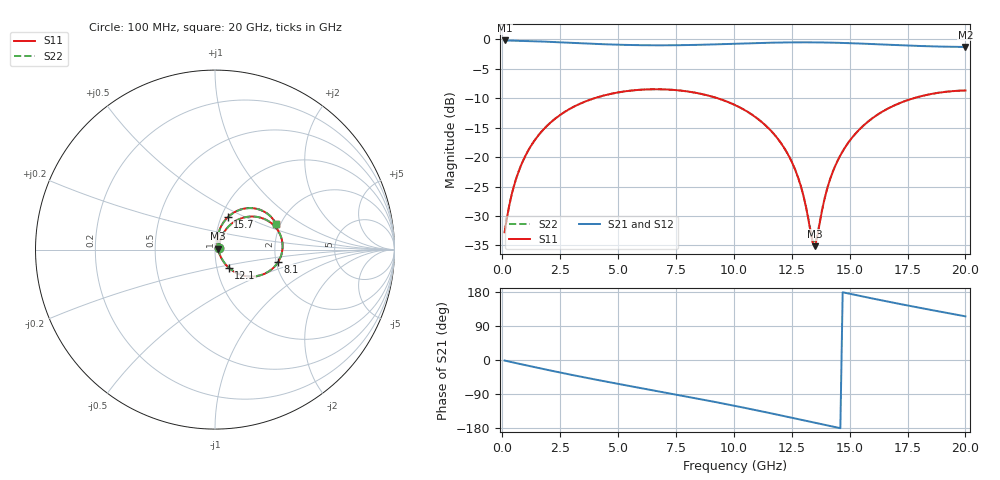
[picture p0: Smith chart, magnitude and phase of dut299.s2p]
! Touchstone file exported from HFSS 2026.1.0
!  File:  C:/ffzhzh/LocalFiles/Ansys_Project_Files/temp_train_TSV_RDL_299_1783088884_37648.aedt
!  Generated:  10:34:54 PM Jul  3, 2026
!  Design:  TSV_RDL
!  Project:  temp_train_TSV_RDL_299_1783088884_37648
! Variables:
!  h_bsmrdl = 5.78um
!  h_ox = 20um
!  h_rdl = 5um
!  h_sub = 52.38um
!  h_tmrdl = 4.01um
!  h_tsv = 52.38um
!  h_via = 3um
!  l_bsmrdl = 791.67um
!  l_sub = 4261.31um
!  l_tmrdl = 346.45um
!  m_sub = 200um
!  pitch = 34.42um
!  r_tsv = 7.13um
!  s_tmrdl = 10um
!  w_bsmrdl = 23.25um
!  w_sub = 500um
!  w_tmrdl = 10.25um
!  x_tsv_center1 = 351.575um
!  x_tsv_center2 = 1166.495um
!  x_tsv_center3 = 1523.195um
!  x_tsv_center4 = 2338.115um
!  x_tsv_center5 = 2694.815um
!  x_tsv_center6 = 3509.735um
# GHz S MA R 50.000000
! Terminal data exported
! Port[1] = TM_RDL1_1_T1
! Port[2] = TM_RDL5_1_T1
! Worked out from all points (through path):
!   200 points, 100 MHz to 20 GHz, reference 50 ohm
!   highest |S21| = -0.18 dB at 100 MHz (marker M1); lowest = -1.3 dB at 20 GHz (marker M2)
!   group delay of S21, straight-line fit = 33.9 ps
!   lowest |S11| = -35.1 dB at 13.5 GHz (marker M3), VSWR 1.04, Z = 51.7 + j0.567 ohm
!   |S11| at or under -10 dB: start of sweep to 3.974 GHz; 9.302 GHz to 17.76 GHz (8.457 GHz wide, 62.5 % of centre)
!   |S22| runs from -34.6 to -8.5 dB; largest |S21 - S12| = 1.6e-14
!   S11 on the Smith chart (normalised r, x): 100 MHz: 1.04, +0.02; 8.1 GHz: 2.06, -0.32; 12.1 GHz: 1.14, -0.23; 15.7 GHz: 1.07, +0.40; 20 GHz: 1.89, +0.63
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0.1  0.02297 28.4  0.98 -1.4  0.98 -1.4  0.02297 28.4
! Gamma 0 0 0 0
! Port Impedance 50 0 50 0
0.5  0.05662 59.4  0.9759 -6.9  0.9759 -6.9  0.05662 59.4
1.2  0.1212 61.9  0.9681 -16.3  0.9681 -16.3  0.1212 61.9
2.2  0.206 53.0  0.9509 -29.3  0.9509 -29.3  0.206 53.1
3.5  0.2922 38.8  0.9254 -45.4  0.9254 -45.4  0.2922 38.8
5.1  0.3572 21.3  0.9007 -64.1  0.9007 -64.1  0.3572 21.3
6.8  0.3772 3.1  0.8911 -83.3  0.8911 -83.3  0.3772 3.2
8.1  0.359 -10.8  0.8964 -98.0  0.8964 -98.0  0.359 -10.7
10.1  0.2741 -32.7  0.9195 -121.7  0.9195 -121.7  0.2741 -32.5
11.2  0.1992 -44.6  0.9336 -135.5  0.9336 -135.5  0.1992 -44.4
12.1  0.1261 -52.9  0.9419 -147.1  0.9419 -147.1  0.1262 -52.5
12.5  0.09128 -54.9  0.944 -152.3  0.944 -152.3  0.09143 -54.3
12.9  0.05608 -52.9  0.9449 -157.6  0.9449 -157.6  0.05635 -52.0
13.4  0.01882 -9.7  0.9443 -164.2  0.9443 -164.2  0.01973 -8.5
13.5  0.01753 18.2  0.9439 -165.5  0.9439 -165.5  0.01852 18.0
13.9  0.04273 72.2  0.9417 -170.8  0.9417 -170.8  0.04318 71.0
14.3  0.07738 78.2  0.9382 -176.1  0.9382 -176.1  0.07764 77.5
14.9  0.1292 75.9  0.931 176.1  0.931 176.1  0.1293 75.5
15.7  0.1932 68.6  0.9187 165.9  0.9187 165.9  0.1933 68.4
16.7  0.2614 58.1  0.9011 153.5  0.9011 153.5  0.2615 57.9
18.3  0.3369 40.9  0.8761 134.6  0.8761 134.6  0.3369 40.8
20  0.3683 23.0  0.8634 115.2  0.8634 115.2  0.3684 23.0
